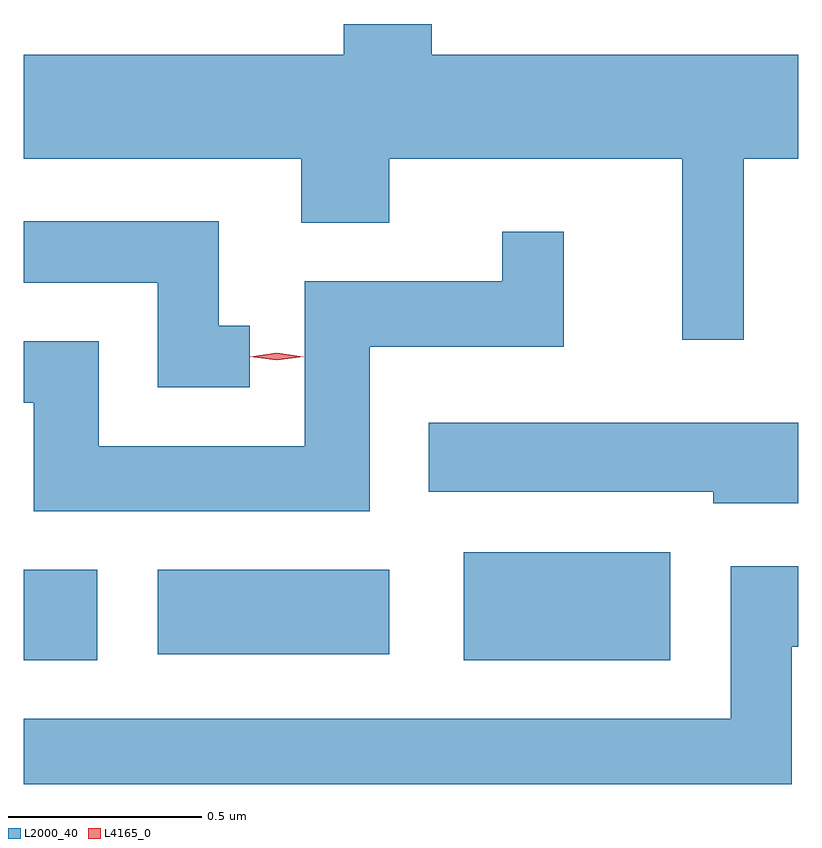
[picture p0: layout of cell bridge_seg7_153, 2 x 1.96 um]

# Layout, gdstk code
import gdstk
lib = gdstk.Library(unit=1e-6, precision=1e-09)
def R(c, l, rs):  # rectangles x0, y0, x1, y1
    for r in rs: c.add(gdstk.rectangle(r[:2], r[2:], *l))
def P(c, l, *ps):  # polygons
    for p in ps: c.add(gdstk.Polygon(p, *l))
L2000_40 = (2000, 40)
L4165_0 = (4165, 0)

bridge_seg7_153 = lib.new_cell('bridge_seg7_153')
R(bridge_seg7_153, L2000_40, [(1629.845,1721.901,1630.034,1722.134), (1630.981,1721.901,1631.514,1722.179), (1630.191,1721.916,1630.789,1722.134)])
P(bridge_seg7_153, L2000_40, [(1631.704,1723.196),(1631.845,1723.196),(1631.845,1723.464),(1630.899,1723.464),(1630.899,1723.544),(1630.671,1723.544),(1630.671,1723.464),(1629.845,1723.464),(1629.845,1723.196),(1630.561,1723.196),(1630.561,1723.031),(1630.789,1723.031),(1630.789,1723.196),(1631.546,1723.196),(1631.546,1722.728),(1631.704,1722.728)],
  [(1630.428,1722.764),(1630.349,1722.764),(1630.349,1723.034),(1629.845,1723.034),(1629.845,1722.876),(1630.191,1722.876),(1630.191,1722.606),(1630.428,1722.606)],
  [(1630.739,1722.711),(1631.239,1722.711),(1631.239,1723.008),(1631.081,1723.008),(1631.081,1722.879),(1630.571,1722.879),(1630.571,1722.454),(1630.039,1722.454),(1630.039,1722.724),(1629.845,1722.724),(1629.845,1722.566),(1629.871,1722.566),(1629.871,1722.286),(1630.739,1722.286)],
  [(1631.845,1722.514),(1630.891,1722.514),(1630.891,1722.336),(1631.626,1722.336),(1631.626,1722.306),(1631.845,1722.306)],
  [(1631.829,1721.936),(1631.845,1721.936),(1631.845,1722.144),(1631.671,1722.144),(1631.671,1721.749),(1629.845,1721.749),(1629.845,1721.581),(1631.829,1721.581)])
P(bridge_seg7_153, L4165_0, [(1630.498,1722.675),(1630.429,1722.684),(1630.429,1722.685),(1630.429,1722.685),(1630.498,1722.695),(1630.568,1722.685),(1630.568,1722.685),(1630.568,1722.684)])

lib.write_gds('bridge_seg7_153.gds')
